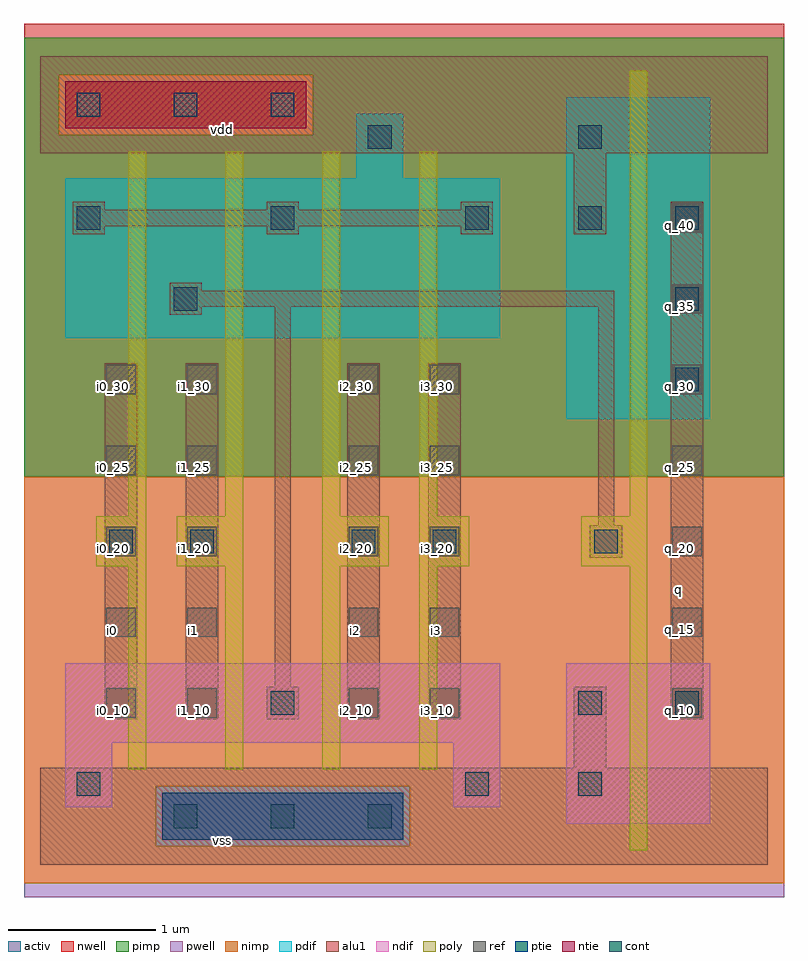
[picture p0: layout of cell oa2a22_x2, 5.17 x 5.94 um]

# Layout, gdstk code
import gdstk
lib = gdstk.Library(unit=1e-6, precision=2.5e-09)
def R(c, l, rs):  # rectangles x0, y0, x1, y1
    for r in rs: c.add(gdstk.rectangle(r[:2], r[2:], *l))
def A(c, l, x, y, w, h, nx, ny, dx, dy):  # array of equal rectangles
    R(c, l, [(x+i*dx, y+j*dy, x+i*dx+w, y+j*dy+h) for i in range(nx) for j in range(ny)])
ndif = (3, 0)
pdif = (4, 0)
ntie = (5, 0)
ptie = (6, 0)
ref = (24, 0)
cont = (25, 0)
pwell = (41, 0)
nwell = (42, 0)
activ = (43, 0)
pimp = (44, 0)
nimp = (45, 0)
poly = (46, 0)
alu1 = (49, 0)

oa2a22_x2 = lib.new_cell('oa2a22_x2')
R(oa2a22_x2, ndif, [(3.58,0.28,4.56,1.37), (3.58,0.28,4.56,1.37), (0.17,0.39,0.49,0.83), (0.17,0.39,0.49,0.83), (2.81,0.39,3.13,0.83), (2.81,0.39,3.13,0.83), (0.17,0.83,3.13,1.37), (0.17,0.83,3.13,1.37)])
R(oa2a22_x2, pdif, [(3.58,3.03,4.56,5.22), (3.58,3.03,4.56,5.22), (0.17,3.58,3.13,4.67), (0.17,3.58,3.13,4.67), (2.15,4.67,2.47,5.11), (2.15,4.67,2.47,5.11)])
R(oa2a22_x2, ntie, [(0.17,5.01,1.81,5.33), (0.17,5.01,1.81,5.33)])
R(oa2a22_x2, ptie, [(0.83,0.17,2.47,0.49), (0.83,0.17,2.47,0.49)])
A(oa2a22_x2, ref, 0.45, 1, 0.2, 0.2, 1, 5, 0, 0.55)
A(oa2a22_x2, ref, 1, 1, 0.2, 0.2, 1, 5, 0, 0.55)
A(oa2a22_x2, ref, 2.1, 1, 0.2, 0.2, 1, 5, 0, 0.55)
A(oa2a22_x2, ref, 2.65, 1, 0.2, 0.2, 1, 5, 0, 0.55)
A(oa2a22_x2, ref, 4.3, 1, 0.2, 0.2, 1, 7, 0, 0.55)
A(oa2a22_x2, cont, 0.91, 0.25, 0.16, 0.16, 3, 1, 0.66, 0)
A(oa2a22_x2, cont, 4.32, 3.22, 0.16, 0.16, 1, 3, 0, 0.55)
A(oa2a22_x2, cont, 0.25, 4.32, 0.16, 0.16, 3, 1, 1.32, 0)
A(oa2a22_x2, cont, 0.25, 5.09, 0.16, 0.16, 3, 1, 0.66, 0)
R(oa2a22_x2, cont, [(0.25,0.47,0.41,0.63), (2.89,0.47,3.05,0.63), (3.66,0.47,3.82,0.63), (1.57,1.02,1.73,1.18), (3.66,1.02,3.82,1.18), (4.32,1.02,4.48,1.18), (0.47,2.12,0.63,2.28), (1.02,2.12,1.18,2.28), (2.12,2.12,2.28,2.28), (2.67,2.12,2.83,2.28), (3.77,2.12,3.93,2.28), (0.91,3.77,1.07,3.93), (3.66,4.32,3.82,4.48), (2.23,4.87,2.39,5.03), (3.66,4.87,3.82,5.03)])
R(oa2a22_x2, pwell, [(-0.11,-0.22,5.06,2.64)])
R(oa2a22_x2, nwell, [(-0.11,2.64,5.06,5.72)])
R(oa2a22_x2, activ, [(0.83,0.17,2.47,0.49), (0.83,0.17,2.47,0.49), (3.58,0.28,4.56,1.37), (3.58,0.28,4.56,1.37), (0.17,0.39,0.49,0.83), (0.17,0.39,0.49,0.83), (2.81,0.39,3.13,0.83), (2.81,0.39,3.13,0.83), (0.17,0.83,3.13,1.37), (0.17,0.83,3.13,1.37), (3.58,3.03,4.56,5.22), (3.58,3.03,4.56,5.22), (0.17,3.58,3.13,4.67), (0.17,3.58,3.13,4.67), (2.15,4.67,2.47,5.11), (2.15,4.67,2.47,5.11), (0.17,5.01,1.81,5.33), (0.17,5.01,1.81,5.33)])
R(oa2a22_x2, pimp, [(0.785,0.125,2.515,0.535), (-0.11,2.64,5.06,4.965), (-0.11,4.965,0.125,5.375), (1.855,4.965,5.06,5.375), (-0.11,5.375,5.06,5.625)])
R(oa2a22_x2, nimp, [(-0.11,-0.125,5.06,0.125), (-0.11,0.125,0.785,0.535), (2.515,0.125,5.06,0.535), (-0.11,0.535,5.06,2.64), (0.125,4.965,1.855,5.375)])
A(oa2a22_x2, poly, 0.6, 0.65, 0.12, 1.38, 4, 1, 0.66, 0)
A(oa2a22_x2, poly, 0.6, 2.37, 0.12, 2.48, 4, 1, 0.66, 0)
R(oa2a22_x2, poly, [(4.01,0.1,4.13,2.03), (0.38,2.03,0.72,2.37), (0.93,2.03,1.38,2.37), (1.92,2.03,2.37,2.37), (2.58,2.03,2.92,2.37), (3.68,2.03,4.13,2.37), (4.01,2.37,4.13,5.4)])
A(oa2a22_x2, alu1, 0.22, 4.29, 0.22, 0.055, 3, 2, 1.32, 0.165)
R(oa2a22_x2, alu1, [(0,0,4.95,0.66), (3.63,0.66,3.85,1.21), (0.44,0.99,0.66,3.41), (0.99,0.99,1.21,3.41), (1.54,0.99,1.76,1.21), (2.09,0.99,2.31,3.41), (2.64,0.99,2.86,3.41), (4.29,0.99,4.51,4.51), (1.595,1.21,1.705,3.795), (3.74,2.09,3.96,2.31), (3.795,2.31,3.905,3.795), (0.88,3.74,1.1,3.795), (0.88,3.795,3.905,3.905), (0.88,3.905,1.1,3.96), (3.63,4.29,3.85,4.84), (0.22,4.345,3.08,4.455), (0,4.84,4.95,5.5)])
oa2a22_x2.add(gdstk.Label('vss', (1.2375,0.165), layer=49, texttype=0))
oa2a22_x2.add(gdstk.Label('q', (4.345,1.87), layer=49, texttype=0))
oa2a22_x2.add(gdstk.Label('i3', (2.695,1.595), layer=49, texttype=0))
oa2a22_x2.add(gdstk.Label('i2', (2.145,1.595), layer=49, texttype=0))
oa2a22_x2.add(gdstk.Label('i1', (1.045,1.595), layer=49, texttype=0))
oa2a22_x2.add(gdstk.Label('i0', (0.495,1.595), layer=49, texttype=0))
oa2a22_x2.add(gdstk.Label('vdd', (1.2375,5.005), layer=49, texttype=0))
oa2a22_x2.add(gdstk.Label('i3_10', (2.7,1.05), layer=24, texttype=0))
oa2a22_x2.add(gdstk.Label('i3_15', (2.7,1.6), layer=24, texttype=0))
oa2a22_x2.add(gdstk.Label('i3_20', (2.7,2.15), layer=24, texttype=0))
oa2a22_x2.add(gdstk.Label('i3_25', (2.7,2.7), layer=24, texttype=0))
oa2a22_x2.add(gdstk.Label('i3_30', (2.7,3.25), layer=24, texttype=0))
oa2a22_x2.add(gdstk.Label('i2_30', (2.15,3.25), layer=24, texttype=0))
oa2a22_x2.add(gdstk.Label('i2_25', (2.15,2.7), layer=24, texttype=0))
oa2a22_x2.add(gdstk.Label('i2_20', (2.15,2.15), layer=24, texttype=0))
oa2a22_x2.add(gdstk.Label('i2_15', (2.15,1.6), layer=24, texttype=0))
oa2a22_x2.add(gdstk.Label('i2_10', (2.15,1.05), layer=24, texttype=0))
oa2a22_x2.add(gdstk.Label('i1_10', (1.05,1.05), layer=24, texttype=0))
oa2a22_x2.add(gdstk.Label('i1_15', (1.05,1.6), layer=24, texttype=0))
oa2a22_x2.add(gdstk.Label('i1_20', (1.05,2.15), layer=24, texttype=0))
oa2a22_x2.add(gdstk.Label('i1_25', (1.05,2.7), layer=24, texttype=0))
oa2a22_x2.add(gdstk.Label('i1_30', (1.05,3.25), layer=24, texttype=0))
oa2a22_x2.add(gdstk.Label('i0_30', (0.5,3.25), layer=24, texttype=0))
oa2a22_x2.add(gdstk.Label('i0_25', (0.5,2.7), layer=24, texttype=0))
oa2a22_x2.add(gdstk.Label('i0_20', (0.5,2.15), layer=24, texttype=0))
oa2a22_x2.add(gdstk.Label('i0_15', (0.5,1.6), layer=24, texttype=0))
oa2a22_x2.add(gdstk.Label('i0_10', (0.5,1.05), layer=24, texttype=0))
oa2a22_x2.add(gdstk.Label('q_40', (4.35,4.35), layer=24, texttype=0))
oa2a22_x2.add(gdstk.Label('q_35', (4.35,3.8), layer=24, texttype=0))
oa2a22_x2.add(gdstk.Label('q_30', (4.35,3.25), layer=24, texttype=0))
oa2a22_x2.add(gdstk.Label('q_20', (4.35,2.15), layer=24, texttype=0))
oa2a22_x2.add(gdstk.Label('q_10', (4.35,1.05), layer=24, texttype=0))
oa2a22_x2.add(gdstk.Label('q_15', (4.35,1.6), layer=24, texttype=0))
oa2a22_x2.add(gdstk.Label('q_25', (4.35,2.7), layer=24, texttype=0))

lib.write_gds('oa2a22_x2.gds')
